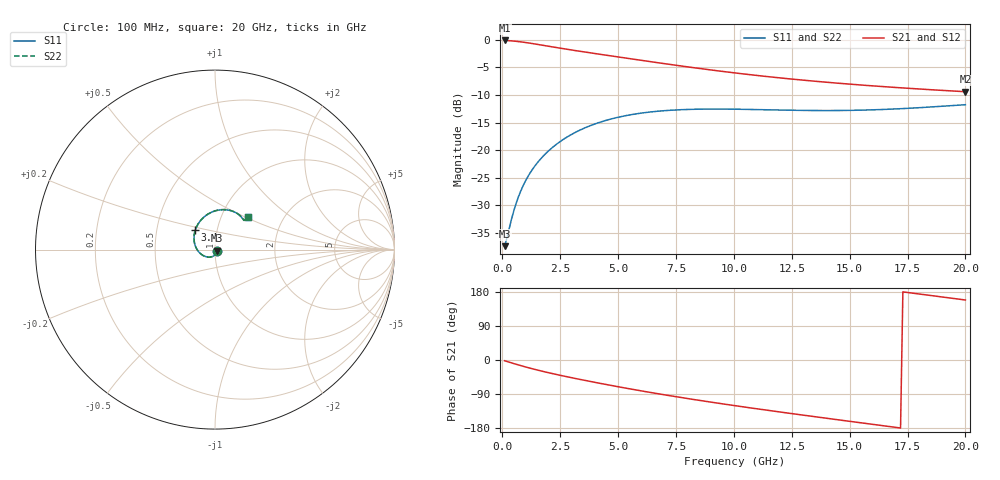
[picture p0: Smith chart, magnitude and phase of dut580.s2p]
! Touchstone file exported from HFSS 2024.1.0
!  File:  C:/UserFiles/LocalFiles/RDL_TSV_Batchsim/temp_RDL_TSV_580_1779756494.aedt
!  Generated:  09:02:25 AM May 26, 2026
!  Design:  RDL_TSV
!  Project:  temp_RDL_TSV_580_1779756494
!  Setup:  Setup1
!  Solution:  Sweep
! Variables:
!  dtsv = 13.64um
!  hbump = 3um
!  htsv = 84.28um
!  ldown = 287.47um
!  lrdl = 459.24um
!  p = 40
!  p1 = 49.3um
!  rhole = 10um
!  subl = 2699.37um
!  t = 450um
!  tdown = 3.48um
!  trdl = 2.96um
!  viad = 10um
!  wdown = 20.37um
!  wrdl = 28.84um
!  xbump = 18um
# GHz S MA R 50.000000
! Terminal data exported
! Port[1] = TM1_1_T1
! Port[2] = TM1_4_T1
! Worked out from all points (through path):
!   200 points, 100 MHz to 20 GHz, reference 50 ohm
!   highest |S21| = -0.12 dB at 100 MHz (marker M1); lowest = -9.4 dB at 20 GHz (marker M2)
!   group delay of S21, straight-line fit = 26.4 ps
!   lowest |S11| = -37.4 dB at 100 MHz (marker M3), VSWR 1.03, Z = 51.2 - j0.572 ohm
!   |S11| at or under -10 dB: start of sweep to end of sweep
!   |S22| runs from -37.4 to -11.7 dB; largest |S21 - S12| = 1e-14
!   S11 on the Smith chart (normalised r, x): 100 MHz: 1.02, -0.01; 3.4 GHz: 0.78, +0.17; 20 GHz: 1.34, +0.52
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0.1  0.01353 -24.4  0.9866 -2.0  0.9866 -2.0  0.01353 -24.4
! Gamma 0 0 0 0
! Port Impedance 50 0 50 0
0.2  0.01604 -45.1  0.9846 -3.9  0.9846 -3.9  0.01604 -45.1
0.4  0.02384 -75.2  0.978 -7.7  0.978 -7.7  0.02383 -75.2
0.6  0.03314 -96.3  0.9692 -11.3  0.9692 -11.3  0.03314 -96.3
0.9  0.04773 -120.4  0.9522 -16.6  0.9522 -16.6  0.04773 -120.5
1.2  0.06221 -139.8  0.9321 -21.6  0.9321 -21.6  0.06224 -139.8
1.6  0.08093 -161.2  0.9032 -27.8  0.9032 -27.8  0.08099 -161.2
2.1  0.1032 176.9  0.8672 -35.0  0.8672 -35.0  0.1033 176.8
2.7  0.1279 155.6  0.827 -43.0  0.827 -43.0  0.1281 155.6
3.4  0.1538 135.8  0.7846 -51.8  0.7846 -51.8  0.154 135.7
3.5  0.1572 133.3  0.7788 -53.0  0.7788 -53.0  0.1575 133.2
4.2  0.1788 117.7  0.7404 -61.4  0.7404 -61.4  0.1792 117.6
5  0.1988 103.1  0.6995 -70.5  0.6995 -70.5  0.1993 103.1
5.9  0.2154 89.8  0.6565 -80.4  0.6565 -80.4  0.216 89.8
6.8  0.2264 79.1  0.6167 -89.8  0.6167 -89.8  0.2271 79.1
8.4  0.2352 64.8  0.5542 -105.5  0.5542 -105.5  0.236 64.8
10.1  0.2353 54.9  0.4997 -121.0  0.4997 -121.0  0.2361 54.8
11.7  0.2318 49.2  0.4585 -134.8  0.4585 -134.8  0.2328 49.1
13.4  0.2289 46.1  0.4234 -148.9  0.4234 -148.9  0.2298 46.0
15  0.2295 45.1  0.3968 -161.8  0.3968 -161.8  0.2304 44.9
16.7  0.2351 44.9  0.3736 -175.4  0.3736 -175.4  0.2359 44.7
20  0.2585 44.2  0.3388 158.3  0.3388 158.3  0.2589 44.0
